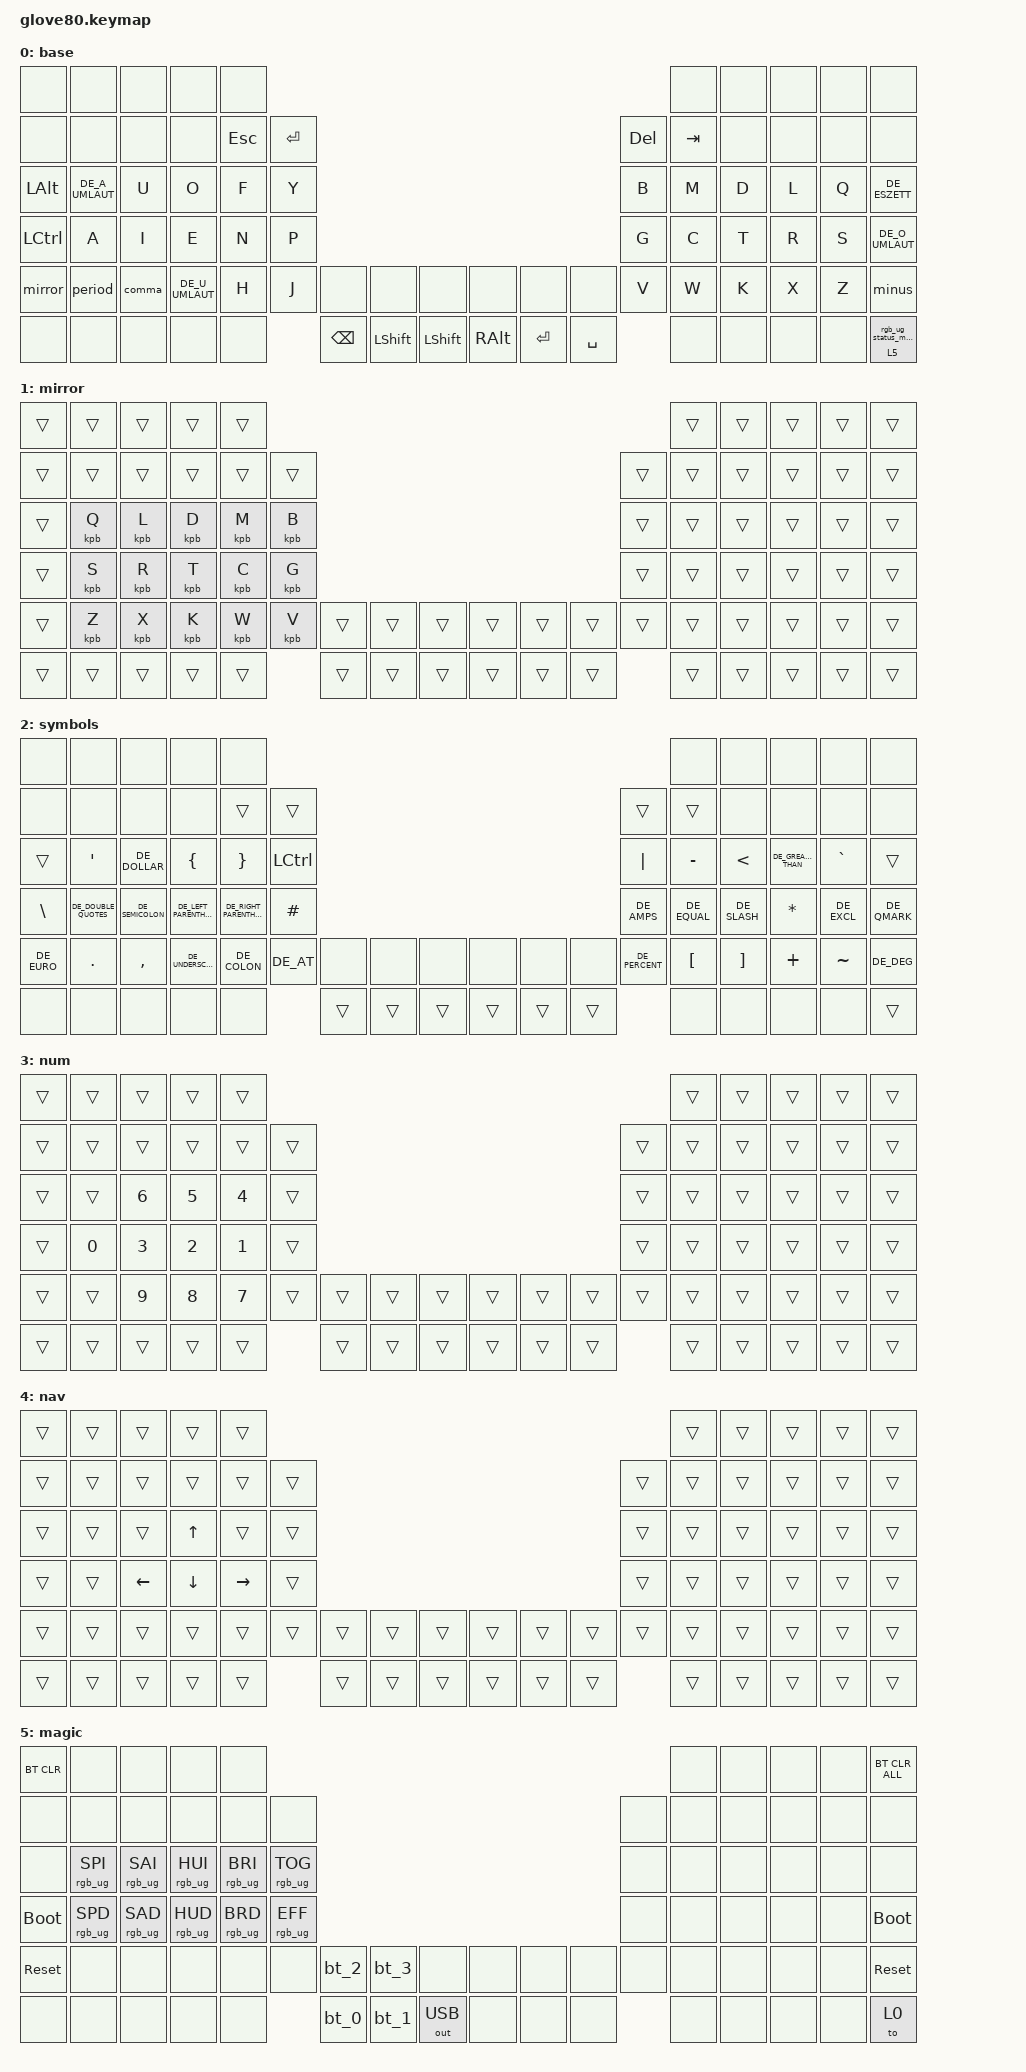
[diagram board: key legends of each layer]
/*
 * Copyright (c) 2020 The ZMK Contributors
 *
 * SPDX-License-Identifier: MIT
 */

#include <behaviors.dtsi>
#include <dt-bindings/zmk/bt.h>
#include <dt-bindings/zmk/keys.h>
#include <dt-bindings/zmk/outputs.h>
#include <dt-bindings/zmk/rgb.h>
#include "keys_sv.h"

#define HYPER LC(LS(LG(LALT)))

// layers

#define DEFAULT 0
#define LOWER 1
#define MAGIC 2
#define FACTORY_TEST 3

/ {
    behaviors {
        // For the "layer" key, it'd nice to be able to use it as either a shift or a toggle.
        // Configure it as a tap dance, so the first tap (or hold) is a &mo and the second tap is a &to

        layer_td: tap_dance_0 {
            compatible = "zmk,behavior-tap-dance";
            label = "LAYER_TAP_DANCE";
            #binding-cells = <0>;
            tapping-term-ms = <200>;
            bindings = <&mo 0>, <&to 0>;
        };

        magic: magic_hold_tap {
            compatible = "zmk,behavior-hold-tap";
            label = "MAGIC_HOLD_TAP";
            #binding-cells = <2>;
            flavor = "tap-preferred";
            tapping-term-ms = <200>;
            bindings = <&mo>, <&rgb_ug_status_macro>;
        };

        comma: comma {
            compatible = "zmk,behavior-mod-morph";
            #binding-cells = <0>;
            bindings = <&kp COMMA>, <&kp PERIOD>;

            mods = <(MOD_LSFT|MOD_RSFT)>;
            keep-mods = <(MOD_LSFT|MOD_RSFT)>; /* Prevents Shift from dropping */
        };

        period: period {
            compatible = "zmk,behavior-mod-morph";
            #binding-cells = <0>;
            bindings = <&kp PERIOD>, <&kp NUHS>;

            /* Outputs . and ' */

            mods = <(MOD_LSFT|MOD_RSFT)>;
            keep-mods = <(MOD_LSFT|MOD_RSFT)>;
        };

        minus: minus {
            compatible = "zmk,behavior-mod-morph";
            #binding-cells = <0>;
            bindings = <&kp FSLH>, <&kp N2>;

            /* Outputs - and " */

            mods = <(MOD_LSFT|MOD_RSFT)>;
            keep-mods = <(MOD_LSFT|MOD_RSFT)>;
        };
    };

    macros {
        rgb_ug_status_macro: rgb_ug_status_macro_0 {
            label = "RGB_UG_STATUS";
            compatible = "zmk,behavior-macro";
            #binding-cells = <0>;
            bindings = <&rgb_ug RGB_STATUS>;
        };

        bt_0: bt_profile_macro_0 {
            label = "BT_0";
            compatible = "zmk,behavior-macro";
            #binding-cells = <0>;
            bindings = <&out OUT_BLE &bt BT_SEL 0>;
        };

        bt_1: bt_profile_macro_1 {
            label = "BT_1";
            compatible = "zmk,behavior-macro";
            #binding-cells = <0>;
            bindings = <&out OUT_BLE &bt BT_SEL 1>;
        };

        bt_2: bt_profile_macro_2 {
            label = "BT_2";
            compatible = "zmk,behavior-macro";
            #binding-cells = <0>;
            bindings = <&out OUT_BLE &bt BT_SEL 2>;
        };

        bt_3: bt_profile_macro_3 {
            label = "BT_3";
            compatible = "zmk,behavior-macro";
            #binding-cells = <0>;
            bindings = <&out OUT_BLE &bt BT_SEL 3>;
        };

        kpb: mo_ctrl {
            compatible = "zmk,behavior-macro-one-param";
            wait-ms = <0>;  // Eliminates delay between macro steps
            tap-ms = <0>;   // Eliminates tap delays
            #binding-cells = <1>;
            bindings = <&macro_param_1to1 &kp MACRO_PLACEHOLDER &to 0>;
        };

        mirror: mirror {
            compatible = "zmk,behavior-macro";
            #binding-cells = <0>;
            bindings =
                <&to 1>,
                <&macro_press>,
                <&kp LCTRL>,
                <&macro_pause_for_release>,
                <&macro_release>,
                <&kp LCTRL>;

            label = "MIRROR";
        };
    };

    keymap {
        compatible = "zmk,keymap";

        base {
            // ---------------------------------------------------------------------------------------------------------------------------------
            // |  F1   |  F2 |  F3 |  F4  |  F5  |                                                               |  F6   |  F7   |  F8  |   F9  |  F10 |
            // |  =    |  1  |  2  |  3   |  4   |  5   |                                                 |  6   |   7   |   8   |  9   |   0   |   -  |
            // |  TAB  |  Q  |  W  |  E   |  R   |  T   |                                                 |  Y   |   U   |   I   |  O   |   P   |   \  |
            // |  ESC  |  A  |  S  |  D   |  F   |  G   |                                                 |  H   |   J   |   K   |  L   |   ;   |   '  |
            // |   `   |  Z  |  X  |  C   |  V   |  B   | LSHFT | LCTRL | LOWER | | LGUI  | RCTRL | RSHFT |  N   |   M   |   ,   |  .   |   /   | PGUP |
            // | MAGIC | HOME| END | LEFT | RIGHT|      | BSPC  | DEL   | LALT  | | RALT  | RET   | SPACE |      |  UP   | DOWN  |  [   |   ]   | PGDN |

            bindings = <
&none             &none            &none   &none            &none                                                                                    &none    &none  &none  &none  &none
&none             &none            &none   &none            &kp ESC  &kp RET                                                                &kp DEL  &kp TAB  &none  &none  &none  &none
&kp LEFT_ALT      &kp DE_A_UMLAUT  &kp U   &kp O            &kp F    &kp Y                                                                  &kp B    &kp M    &kp D  &kp L  &kp Q  &kp DE_ESZETT
&kp LEFT_CONTROL  &kp A            &kp I   &kp E            &kp N    &kp P                                                                  &kp G    &kp C    &kp T  &kp R  &kp S  &kp DE_O_UMLAUT
&mirror           &period          &comma  &kp DE_U_UMLAUT  &kp H    &kp J    &none     &none      &none      &none     &none    &none      &kp V    &kp W    &kp K  &kp X  &kp Z  &minus
&none             &none            &none   &none            &none             &kp BSPC  &kp LSHFT  &kp LSHFT  &kp RALT  &kp RET  &kp SPACE           &none    &none  &none  &none  &magic 5 0
            >;
        };

        mirror {
            bindings = <
&trans  &trans  &trans  &trans  &trans                                                                  &trans  &trans  &trans  &trans  &trans
&trans  &trans  &trans  &trans  &trans  &trans                                                  &trans  &trans  &trans  &trans  &trans  &trans
&trans  &kpb Q  &kpb L  &kpb D  &kpb M  &kpb B                                                  &trans  &trans  &trans  &trans  &trans  &trans
&trans  &kpb S  &kpb R  &kpb T  &kpb C  &kpb G                                                  &trans  &trans  &trans  &trans  &trans  &trans
&trans  &kpb Z  &kpb X  &kpb K  &kpb W  &kpb V  &trans  &trans  &trans  &trans  &trans  &trans  &trans  &trans  &trans  &trans  &trans  &trans
&trans  &trans  &trans  &trans  &trans          &trans  &trans  &trans  &trans  &trans  &trans          &trans  &trans  &trans  &trans  &trans
            >;
        };

        symbols {
            bindings = <
&none        &none                 &none             &none                    &none                                                                                                &none         &none         &none                &none        &none
&none        &none                 &none             &none                    &trans                    &trans                                                     &trans          &trans        &none         &none                &none        &none
&trans       &kp APOS              &kp DE_DOLLAR     &kp LBRC                 &kp RBRC                  &kp LCTRL                                                  &kp PIPE        &kp MINUS     &kp LT        &kp DE_GREATER_THAN  &kp GRAVE    &trans
&kp BSLH     &kp DE_DOUBLE_QUOTES  &kp DE_SEMICOLON  &kp DE_LEFT_PARENTHESIS  &kp DE_RIGHT_PARENTHESIS  &kp POUND                                                  &kp DE_AMPS     &kp DE_EQUAL  &kp DE_SLASH  &kp STAR             &kp DE_EXCL  &kp DE_QMARK
&kp DE_EURO  &kp DOT               &kp COMMA         &kp DE_UNDERSCORE        &kp DE_COLON              &kp DE_AT  &none   &none   &none   &none   &none   &none   &kp DE_PERCENT  &kp LBKT      &kp RBKT      &kp PLUS             &kp TILDE    &kp DE_DEG
&none        &none                 &none             &none                    &none                                &trans  &trans  &trans  &trans  &trans  &trans                  &none         &none         &none                &none        &trans
            >;
        };

        num {
            bindings = <
&trans  &trans  &trans  &trans  &trans                                                                  &trans  &trans  &trans  &trans  &trans
&trans  &trans  &trans  &trans  &trans  &trans                                                  &trans  &trans  &trans  &trans  &trans  &trans
&trans  &trans  &kp N6  &kp N5  &kp N4  &trans                                                  &trans  &trans  &trans  &trans  &trans  &trans
&trans  &kp N0  &kp N3  &kp N2  &kp N1  &trans                                                  &trans  &trans  &trans  &trans  &trans  &trans
&trans  &trans  &kp N9  &kp N8  &kp N7  &trans  &trans  &trans  &trans  &trans  &trans  &trans  &trans  &trans  &trans  &trans  &trans  &trans
&trans  &trans  &trans  &trans  &trans          &trans  &trans  &trans  &trans  &trans  &trans          &trans  &trans  &trans  &trans  &trans
            >;
        };

        nav {
            bindings = <
&trans  &trans  &trans    &trans    &trans                                                                     &trans  &trans  &trans  &trans  &trans
&trans  &trans  &trans    &trans    &trans     &trans                                                  &trans  &trans  &trans  &trans  &trans  &trans
&trans  &trans  &trans    &kp UP    &trans     &trans                                                  &trans  &trans  &trans  &trans  &trans  &trans
&trans  &trans  &kp LEFT  &kp DOWN  &kp RIGHT  &trans                                                  &trans  &trans  &trans  &trans  &trans  &trans
&trans  &trans  &trans    &trans    &trans     &trans  &trans  &trans  &trans  &trans  &trans  &trans  &trans  &trans  &trans  &trans  &trans  &trans
&trans  &trans  &trans    &trans    &trans             &trans  &trans  &trans  &trans  &trans  &trans          &trans  &trans  &trans  &trans  &trans
            >;
        };

        magic {
            bindings = <
&bt BT_CLR   &none            &none            &none            &none                                                                                     &none  &none  &none  &none  &bt BT_CLR_ALL
&none        &none            &none            &none            &none            &none                                                             &none  &none  &none  &none  &none  &none
&none        &rgb_ug RGB_SPI  &rgb_ug RGB_SAI  &rgb_ug RGB_HUI  &rgb_ug RGB_BRI  &rgb_ug RGB_TOG                                                   &none  &none  &none  &none  &none  &none
&bootloader  &rgb_ug RGB_SPD  &rgb_ug RGB_SAD  &rgb_ug RGB_HUD  &rgb_ug RGB_BRD  &rgb_ug RGB_EFF                                                   &none  &none  &none  &none  &none  &bootloader
&sys_reset   &none            &none            &none            &none            &none            &bt_2  &bt_3  &none         &none  &none  &none  &none  &none  &none  &none  &none  &sys_reset
&none        &none            &none            &none            &none                             &bt_0  &bt_1  &out OUT_USB  &none  &none  &none         &none  &none  &none  &none  &to 0
            >;
        };
    };

    conditional_layers {
        compatible = "zmk,conditional-layers";

        numsym {
            if-layers = <3>;
            then-layer = <2>;
        };
    };
};
